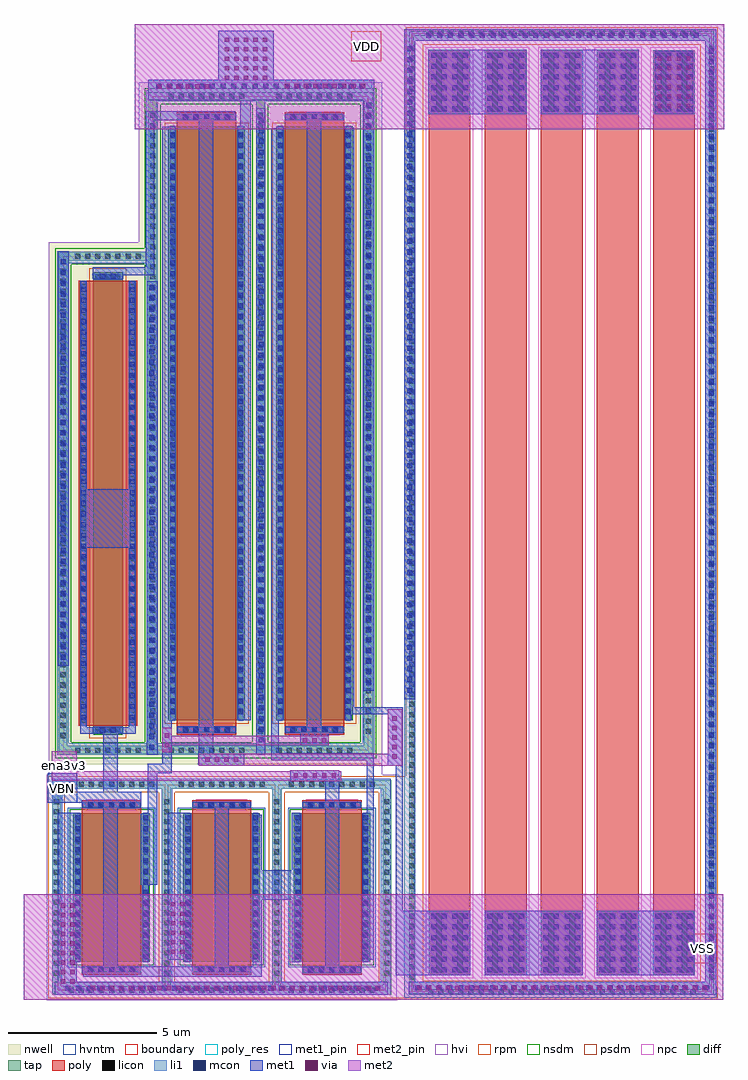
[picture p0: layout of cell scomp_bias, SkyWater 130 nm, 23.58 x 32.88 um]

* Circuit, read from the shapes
.subckt scomp_bias VBN VDD VSS ena3v3
XM1 n1 VBN VSS VSS sky130_fd_pr__nfet_g5v0d10v5 w=5 l=2
XM2 VBN VBN VSS VSS sky130_fd_pr__nfet_g5v0d10v5 w=5 l=2
XM3 n2 ena3v3 VBN VSS sky130_fd_pr__nfet_g5v0d10v5 w=5 l=2
XM4 n3 VBN VBN VDD sky130_fd_pr__pfet_g5v0d10v5 w=1 l=15
XM5 VDD n3 n1 VDD sky130_fd_pr__pfet_g5v0d10v5 w=20 l=2
XM6 n3 n1 n2 VDD sky130_fd_pr__pfet_g5v0d10v5 w=20 l=2
XR7 n4 n3 VSS sky130_fd_pr__res_high_po w=1.41 l=26.88
XR8 n4 n5 VSS sky130_fd_pr__res_high_po w=1.41 l=26.88
XR9 n6 n5 VSS sky130_fd_pr__res_high_po w=1.41 l=26.88
XR10 n6 n7 VSS sky130_fd_pr__res_high_po w=1.41 l=26.88
XR11 VDD n7 VSS sky130_fd_pr__res_high_po w=1.41 l=26.88
.ends

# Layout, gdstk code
from math import pi, radians
import gdstk
lib = gdstk.Library(unit=1e-6, precision=1e-09)
def R(c, l, rs):  # rectangles x0, y0, x1, y1
    for r in rs: c.add(gdstk.rectangle(r[:2], r[2:], *l))
def A(c, l, x, y, w, h, nx, ny, dx, dy):  # array of equal rectangles
    R(c, l, [(x+i*dx, y+j*dy, x+i*dx+w, y+j*dy+h) for i in range(nx) for j in range(ny)])
nwell = (64, 20)
diff = (65, 20)
tap = (65, 44)
poly_res = (66, 13)
poly = (66, 20)
licon = (66, 44)
li1 = (67, 20)
mcon = (67, 44)
met1_pin = (68, 16)
met1 = (68, 20)
via = (68, 44)
met2_pin = (69, 16)
met2 = (69, 20)
hvi = (75, 20)
rpm = (86, 20)
nsdm = (93, 44)
psdm = (94, 20)
npc = (95, 20)
hvntm = (125, 20)
boundary = (235, 4)

sky130_fd_pr__res_high_p = lib.new_cell('sky130_fd_pr__res_high_po_1p41_3L9D94')
R(sky130_fd_pr__res_high_p, tap, [(-5.135,-16.23,5.135,-16.06), (-5.135,-16.06,-4.965,16.06), (4.965,-16.06,5.135,16.06), (-5.135,16.06,5.135,16.23)])
A(sky130_fd_pr__res_high_p, poly_res, -4.485, -13.5, 1.41, 27, 5, 1, 1.89, 0)
A(sky130_fd_pr__res_high_p, poly, -4.485, -15.58, 1.41, 31.16, 5, 1, 1.89, 0)
A(sky130_fd_pr__res_high_p, licon, -4.505, -16.23, 0.17, 0.17, 27, 2, 0.34, 32.29)
A(sky130_fd_pr__res_high_p, licon, -5.135, -15.725, 0.17, 0.17, 1, 93, 0, 0.34)
A(sky130_fd_pr__res_high_p, licon, 4.965, -15.725, 0.17, 0.17, 1, 93, 0, 0.34)
R(sky130_fd_pr__res_high_p, licon, [(-4.23,-15.5,-4.04,-13.5), (-3.52,-15.5,-3.33,-13.5), (-2.34,-15.5,-2.15,-13.5), (-1.63,-15.5,-1.44,-13.5), (-0.45,-15.5,-0.26,-13.5), (0.26,-15.5,0.45,-13.5), (1.44,-15.5,1.63,-13.5), (2.15,-15.5,2.34,-13.5), (3.33,-15.5,3.52,-13.5), (4.04,-15.5,4.23,-13.5), (-4.23,13.5,-4.04,15.5), (-3.52,13.5,-3.33,15.5), (-2.34,13.5,-2.15,15.5), (-1.63,13.5,-1.44,15.5), (-0.45,13.5,-0.26,15.5), (0.26,13.5,0.45,15.5), (1.44,13.5,1.63,15.5), (2.15,13.5,2.34,15.5), (3.33,13.5,3.52,15.5), (4.04,13.5,4.23,15.5)])
A(sky130_fd_pr__res_high_p, li1, -4.485, -15.58, 1.41, 2.16, 5, 2, 1.89, 29)
R(sky130_fd_pr__res_high_p, li1, [(-5.135,-16.23,5.135,-16.06), (-5.135,-16.06,-4.965,16.06), (4.965,-16.06,5.135,16.06), (-5.135,16.06,5.135,16.23)])
A(sky130_fd_pr__res_high_p, mcon, -4.405, -15.485, 0.17, 0.17, 4, 6, 0.36, 0.36)
A(sky130_fd_pr__res_high_p, mcon, -2.515, -15.485, 0.17, 0.17, 4, 6, 0.36, 0.36)
A(sky130_fd_pr__res_high_p, mcon, -0.625, -15.485, 0.17, 0.17, 4, 6, 0.36, 0.36)
A(sky130_fd_pr__res_high_p, mcon, 1.265, -15.485, 0.17, 0.17, 4, 6, 0.36, 0.36)
A(sky130_fd_pr__res_high_p, mcon, 3.155, -15.485, 0.17, 0.17, 4, 6, 0.36, 0.36)
A(sky130_fd_pr__res_high_p, mcon, -4.405, 13.51, 0.17, 0.17, 4, 6, 0.36, 0.36)
A(sky130_fd_pr__res_high_p, mcon, -2.515, 13.51, 0.17, 0.17, 4, 6, 0.36, 0.36)
A(sky130_fd_pr__res_high_p, mcon, -0.625, 13.51, 0.17, 0.17, 4, 6, 0.36, 0.36)
A(sky130_fd_pr__res_high_p, mcon, 1.265, 13.51, 0.17, 0.17, 4, 6, 0.36, 0.36)
A(sky130_fd_pr__res_high_p, mcon, 3.155, 13.51, 0.17, 0.17, 4, 6, 0.36, 0.36)
A(sky130_fd_pr__res_high_p, met1, -4.435, -15.55, 1.31, 2.105, 5, 2, 1.89, 28.995)
R(sky130_fd_pr__res_high_p, rpm, [(-4.685,-15.78,4.685,15.78)])
R(sky130_fd_pr__res_high_p, psdm, [(-5.26,-16.355,5.26,16.355)])
A(sky130_fd_pr__res_high_p, npc, -4.58, -15.675, 1.6, 31.35, 5, 1, 1.89, 0)
R(sky130_fd_pr__res_high_p, boundary, [(-5.05,-16.145,5.05,16.145)])

sky130_fd_pr__nfet_g5v0d = lib.new_cell('sky130_fd_pr__nfet_g5v0d10v5_35MXHD')
R(sky130_fd_pr__nfet_g5v0d, diff, [(-1.29,-2.5,1.29,2.5)])
R(sky130_fd_pr__nfet_g5v0d, tap, [(-2,-3.61,2,-3.32), (-2,-3.32,-1.71,3.32), (1.71,-3.32,2,3.32), (-2,3.32,2,3.61)])
R(sky130_fd_pr__nfet_g5v0d, poly, [(-1,-2.94,1,2.94)])
A(sky130_fd_pr__nfet_g5v0d, licon, -1.445, -3.55, 0.17, 0.17, 9, 2, 0.34, 6.93)
A(sky130_fd_pr__nfet_g5v0d, licon, -1.94, -2.975, 0.17, 0.17, 1, 18, 0, 0.34)
A(sky130_fd_pr__nfet_g5v0d, licon, 1.77, -2.975, 0.17, 0.17, 1, 18, 0, 0.34)
A(sky130_fd_pr__nfet_g5v0d, licon, -0.765, -2.86, 0.17, 0.17, 5, 2, 0.34, 5.55)
A(sky130_fd_pr__nfet_g5v0d, licon, -1.23, -2.295, 0.17, 0.17, 1, 14, 0, 0.34)
A(sky130_fd_pr__nfet_g5v0d, licon, 1.06, -2.295, 0.17, 0.17, 1, 14, 0, 0.34)
R(sky130_fd_pr__nfet_g5v0d, li1, [(-1.94,-3.55,1.94,-3.38), (-1.94,-3.38,-1.77,3.38), (1.77,-3.38,1.94,3.38), (-1,-2.86,1,-2.69), (-1.23,-2.52,-1.06,2.52), (1.06,-2.52,1.23,2.52), (-1,2.69,1,2.86), (-1.94,3.38,1.94,3.55)])
A(sky130_fd_pr__nfet_g5v0d, mcon, -0.805, -2.86, 0.17, 0.17, 5, 2, 0.36, 5.55)
A(sky130_fd_pr__nfet_g5v0d, mcon, -1.23, -2.425, 0.17, 0.17, 1, 14, 0, 0.36)
A(sky130_fd_pr__nfet_g5v0d, mcon, 1.06, -2.425, 0.17, 0.17, 1, 14, 0, 0.36)
R(sky130_fd_pr__nfet_g5v0d, met1, [(-0.98,-2.89,0.98,-2.66), (-1.26,-2.5,-1.03,2.5), (1.03,-2.5,1.26,2.5), (-0.98,2.66,0.98,2.89)])
R(sky130_fd_pr__nfet_g5v0d, hvi, [(-2.185,-3.795,2.185,3.795)])
R(sky130_fd_pr__nfet_g5v0d, nsdm, [(-1.415,-2.625,1.415,2.625)])
R(sky130_fd_pr__nfet_g5v0d, psdm, [(-2.125,-3.735,2.125,-3.195), (-2.125,-3.195,-1.585,3.195), (1.585,-3.195,2.125,3.195), (-2.125,3.195,2.125,3.735)])
R(sky130_fd_pr__nfet_g5v0d, npc, [(-0.865,-2.96,0.865,-2.59), (-0.865,2.59,0.865,2.96)])
R(sky130_fd_pr__nfet_g5v0d, hvntm, [(-1.475,-2.685,1.475,2.685)])
R(sky130_fd_pr__nfet_g5v0d, boundary, [(-1.81,-3.46,1.81,3.46)])

sky130_fd_pr__pfet_g5v0d = lib.new_cell('sky130_fd_pr__pfet_g5v0d10v5_G59KN9')
R(sky130_fd_pr__pfet_g5v0d, nwell, [(-8.79,-1.985,8.79,1.985)])
R(sky130_fd_pr__pfet_g5v0d, diff, [(-7.79,-0.5,7.79,0.5)])
R(sky130_fd_pr__pfet_g5v0d, tap, [(-8.46,-1.655,8.46,-1.365), (-8.46,-1.365,-8.17,1.365), (8.17,-1.365,8.46,1.365), (-8.46,1.365,8.46,1.655)])
R(sky130_fd_pr__pfet_g5v0d, poly, [(-7.5,-0.985,7.5,0.985)])
A(sky130_fd_pr__pfet_g5v0d, licon, -7.905, -1.595, 0.17, 0.17, 47, 1, 0.34, 0)
A(sky130_fd_pr__pfet_g5v0d, licon, -8.4, -1.105, 0.17, 0.17, 1, 7, 0, 0.34)
A(sky130_fd_pr__pfet_g5v0d, licon, 8.23, -1.105, 0.17, 0.17, 1, 7, 0, 0.34)
A(sky130_fd_pr__pfet_g5v0d, licon, -7.395, -0.905, 0.17, 0.17, 44, 2, 0.34, 1.64)
A(sky130_fd_pr__pfet_g5v0d, licon, -7.73, -0.425, 0.17, 0.17, 1, 3, 0, 0.34)
A(sky130_fd_pr__pfet_g5v0d, licon, 7.56, -0.425, 0.17, 0.17, 1, 3, 0, 0.34)
R(sky130_fd_pr__pfet_g5v0d, li1, [(-8.4,-1.595,8.4,-1.425), (-8.4,-1.425,-8.23,1.425), (8.23,-1.425,8.4,1.425), (-7.5,-0.905,7.5,-0.735), (-7.73,-0.52,-7.56,0.52), (7.56,-0.52,7.73,0.52), (-7.5,0.735,7.5,0.905), (-8.4,1.425,8.4,1.595)])
A(sky130_fd_pr__pfet_g5v0d, mcon, -7.285, -0.905, 0.17, 0.17, 41, 2, 0.36, 1.64)
R(sky130_fd_pr__pfet_g5v0d, mcon, [(-7.73,-0.265,-7.56,-0.095), (7.56,-0.265,7.73,-0.095), (-7.73,0.095,-7.56,0.265), (7.56,0.095,7.73,0.265)])
R(sky130_fd_pr__pfet_g5v0d, met1, [(-7.48,-0.935,7.48,-0.705), (-7.76,-0.5,-7.53,0.5), (7.53,-0.5,7.76,0.5), (-7.48,0.705,7.48,0.935)])
R(sky130_fd_pr__pfet_g5v0d, hvi, [(-8.79,-1.985,8.79,1.985)])
R(sky130_fd_pr__pfet_g5v0d, nsdm, [(-8.585,-1.78,8.585,-1.24), (-8.585,-1.24,-8.045,1.24), (8.045,-1.24,8.585,1.24), (-8.585,1.24,8.585,1.78)])
R(sky130_fd_pr__pfet_g5v0d, psdm, [(-7.915,-0.625,7.915,0.625)])
R(sky130_fd_pr__pfet_g5v0d, npc, [(-7.495,-1.005,7.495,-0.635), (-7.495,0.635,7.495,1.005)])
R(sky130_fd_pr__pfet_g5v0d, boundary, [(-8.315,-1.51,8.315,1.51)])

c_sky130_fd_pr__pfet_g5v0d = lib.new_cell('sky130_fd_pr__pfet_g5v0d10v5_VXYCT5')
R(c_sky130_fd_pr__pfet_g5v0d, nwell, [(-2.29,-11.485,2.29,11.485)])
R(c_sky130_fd_pr__pfet_g5v0d, diff, [(-1.29,-10,1.29,10)])
R(c_sky130_fd_pr__pfet_g5v0d, tap, [(-1.96,-11.155,1.96,-10.865), (-1.96,-10.865,-1.67,10.865), (1.67,-10.865,1.96,10.865), (-1.96,10.865,1.96,11.155)])
R(c_sky130_fd_pr__pfet_g5v0d, poly, [(-1,-10.485,1,10.485)])
A(c_sky130_fd_pr__pfet_g5v0d, licon, -1.275, -11.095, 0.17, 0.17, 8, 2, 0.34, 22.02)
A(c_sky130_fd_pr__pfet_g5v0d, licon, -1.9, -10.455, 0.17, 0.17, 1, 62, 0, 0.34)
A(c_sky130_fd_pr__pfet_g5v0d, licon, 1.73, -10.455, 0.17, 0.17, 1, 62, 0, 0.34)
A(c_sky130_fd_pr__pfet_g5v0d, licon, -0.765, -10.405, 0.17, 0.17, 5, 2, 0.34, 20.64)
A(c_sky130_fd_pr__pfet_g5v0d, licon, -1.23, -9.775, 0.17, 0.17, 1, 58, 0, 0.34)
A(c_sky130_fd_pr__pfet_g5v0d, licon, 1.06, -9.775, 0.17, 0.17, 1, 58, 0, 0.34)
R(c_sky130_fd_pr__pfet_g5v0d, li1, [(-1.9,-11.095,1.9,-10.925), (-1.9,-10.925,-1.73,10.925), (1.73,-10.925,1.9,10.925), (-1,-10.405,1,-10.235), (-1.23,-10.02,-1.06,10.02), (1.06,-10.02,1.23,10.02), (-1,10.235,1,10.405), (-1.9,10.925,1.9,11.095)])
A(c_sky130_fd_pr__pfet_g5v0d, mcon, -0.805, -10.405, 0.17, 0.17, 5, 2, 0.36, 20.64)
A(c_sky130_fd_pr__pfet_g5v0d, mcon, -1.23, -9.805, 0.17, 0.17, 1, 55, 0, 0.36)
A(c_sky130_fd_pr__pfet_g5v0d, mcon, 1.06, -9.805, 0.17, 0.17, 1, 55, 0, 0.36)
R(c_sky130_fd_pr__pfet_g5v0d, met1, [(-0.98,-10.435,0.98,-10.205), (-1.26,-10,-1.03,10), (1.03,-10,1.26,10), (-0.98,10.205,0.98,10.435)])
R(c_sky130_fd_pr__pfet_g5v0d, hvi, [(-2.29,-11.485,2.29,11.485)])
R(c_sky130_fd_pr__pfet_g5v0d, nsdm, [(-2.085,-11.28,2.085,-10.74), (-2.085,-10.74,-1.545,10.74), (1.545,-10.74,2.085,10.74), (-2.085,10.74,2.085,11.28)])
R(c_sky130_fd_pr__pfet_g5v0d, psdm, [(-1.415,-10.125,1.415,10.125)])
R(c_sky130_fd_pr__pfet_g5v0d, npc, [(-0.865,-10.505,0.865,-10.135), (-0.865,10.135,0.865,10.505)])
R(c_sky130_fd_pr__pfet_g5v0d, boundary, [(-1.815,-11.01,1.815,11.01)])

scomp_bias = lib.new_cell('scomp_bias')
R(scomp_bias, li1, [(14.42,-6.67,24.95,-6.29), (2.65,-6.58,13.87,-6.55), (2.65,-6.55,13.97,-6.54), (2.57,-6.54,13.97,-6.13), (14.42,-6.29,24.94,-6.13), (2.57,-6.13,2.91,0.37), (6.26,-6.13,6.615,0.37), (9.97,-6.13,10.3,0.37), (13.63,-6.13,13.97,0.37), (14.42,-6.13,14.8,25.56), (24.56,-6.13,24.94,25.56), (2.57,0.37,13.97,0.71), (5.745,1.505,6.12,1.51), (2.74,1.51,13.41,1.89), (2.74,1.89,3.12,18.07), (5.745,1.89,6.12,18.07), (9.44,1.89,9.745,23.22), (13.03,1.89,13.41,23.52), (2.74,18.07,6.12,18.45), (2.74,18.45,3.12,18.47), (5.74,18.45,6.12,23.52), (9.435,23.22,9.745,23.52), (5.74,23.52,13.41,23.9), (5.8,23.9,13.34,24.25), (14.42,25.56,24.94,25.94)])
A(scomp_bias, mcon, 3.01, -6.445, 0.17, 0.17, 30, 1, 0.36, 0)
A(scomp_bias, mcon, 14.795, -6.425, 0.17, 0.17, 28, 1, 0.36, 0)
A(scomp_bias, mcon, 24.675, -5.83, 0.17, 0.17, 1, 87, 0, 0.36)
A(scomp_bias, mcon, 5.83, 1.68, 0.17, 0.17, 1, 44, 0, 0.36)
A(scomp_bias, mcon, 9.515, 1.925, 0.17, 0.17, 1, 59, 0, 0.36)
A(scomp_bias, mcon, 14.52, 3.6, 0.17, 0.17, 1, 61, 0, 0.36)
A(scomp_bias, mcon, 13.14, 3.855, 0.17, 0.17, 1, 55, 0, 0.36)
A(scomp_bias, mcon, 2.85, 4.705, 0.17, 0.17, 1, 38, 0, 0.36)
A(scomp_bias, mcon, 6.075, 23.94, 0.17, 0.17, 20, 1, 0.36, 0)
A(scomp_bias, mcon, 15.17, 25.66, 0.17, 0.17, 26, 1, 0.36, 0)
R(scomp_bias, met1_pin, [(2.41,-0.11,3.41,0.89)])
R(scomp_bias, met1, [(2.65,-6.58,13.87,-6.13), (24.56,-6.58,24.935,-6.56), (14.58,-6.56,24.935,-6.13), (2.75,-6.13,3.4,-3.3), (24.56,-6.13,24.935,25.56), (3.61,-5.96,9.62,-5.89), (17.13,-5.92,20.43,-3.75), (20.9,-5.92,24.2,-3.75), (14.14,-5.91,16.65,-3.75), (3.6,-5.89,9.62,-5.61), (11.76,-5.79,12.24,0.62), (4.29,-5.61,4.77,-0.11), (8.04,-5.61,8.52,-0.29), (9.32,-5.61,9.62,-5.43), (10.63,-5.48,10.87,-3.37), (9.39,-5.43,9.62,-3.37), (6.46,-5.4,7.1,-0.44), (13.16,-5.39,13.4,1.32), (14.14,-3.75,14.37,1.14), (9.39,-3.37,10.87,-2.38), (2.75,-3.3,3.39,-0.44), (5.55,-2.86,6.11,-0.47), (9.39,-2.38,9.62,-0.51), (10.63,-2.38,10.87,-0.44), (5.79,-0.47,6.11,0.88), (2.41,-0.11,5.56,0.26), (2.41,0.26,3.41,0.89), (4.29,0.26,4.77,2.22), (10.59,0.62,12.24,0.99), (5.79,0.88,6.6,1.2), (7.5,1.14,9.03,1.17), (13.86,1.14,14.37,2.875), (7.48,1.17,9.03,1.55), (6.28,1.2,6.6,20.61), (9.95,1.32,13.4,1.56), (5.745,1.505,6.12,17.46), (9.44,1.51,9.745,23.29), (7.48,1.55,7.99,1.65), (9.95,1.56,10.19,22.61), (7.51,1.65,7.99,22.91), (10.92,1.83,11.885,2.47), (3.505,2.22,5.375,2.43), (3.505,2.43,3.735,2.51), (5.145,2.43,5.375,2.51), (11.14,2.47,11.62,23.16), (8.9,2.67,9.25,23.55), (12.475,2.875,14.37,3.105), (12.505,3.105,12.735,22.625), (14.425,3.385,14.8,25.56), (13.05,3.665,13.415,23.55), (2.745,4.51,3.13,18.475), (3.62,8.49,5.2,10.45), (3.925,17.665,5.995,17.935), (5.725,17.935,5.995,22.88), (6.28,20.61,6.55,22.67), (5.725,22.88,6.92,22.91), (5.725,22.91,8.73,23.18), (15.24,23.08,18.54,25.25), (19.02,23.08,22.32,25.25), (22.885,23.17,24.135,25.155), (5.8,23.55,13.415,24.25), (8.16,24.25,10.02,25.89), (13.05,24.25,13.415,24.255), (14.425,25.56,24.935,25.945), (14.43,25.945,24.935,25.955)])
A(scomp_bias, via, 3.87, -6.425, 0.15, 0.15, 31, 1, 0.32, 0)
A(scomp_bias, via, 14.865, -6.415, 0.15, 0.15, 31, 1, 0.32, 0)
A(scomp_bias, via, 2.86, -6.2, 0.15, 0.15, 1, 9, 0, 0.32)
A(scomp_bias, via, 3.18, -6.2, 0.15, 0.15, 1, 9, 0, 0.32)
A(scomp_bias, via, 6.56, -5.2, 0.15, 0.15, 1, 6, 0, 0.32)
A(scomp_bias, via, 6.88, -5.2, 0.15, 0.15, 1, 6, 0, 0.32)
A(scomp_bias, via, 10.695, 0.73, 0.15, 0.15, 5, 1, 0.32, 0)
A(scomp_bias, via, 7.715, 1.27, 0.15, 0.15, 4, 1, 0.32, 0)
A(scomp_bias, via, 14.025, 1.37, 0.15, 0.15, 1, 5, 0, 0.32)
A(scomp_bias, via, 11.005, 1.915, 0.15, 0.15, 3, 1, 0.32, 0)
A(scomp_bias, via, 22.955, 23.285, 0.15, 0.15, 4, 6, 0.32, 0.32)
A(scomp_bias, via, 6.105, 23.95, 0.15, 0.15, 6, 1, 0.32, 0)
A(scomp_bias, via, 10.395, 23.96, 0.15, 0.15, 9, 1, 0.32, 0)
A(scomp_bias, via, 8.375, 24.24, 0.15, 0.15, 5, 5, 0.32, 0.32)
R(scomp_bias, via, [(6.365,1.77,6.515,1.92), (6.365,2.09,6.515,2.24)])
R(scomp_bias, met2_pin, [(23.97,-5.52,24.97,-4.52), (2.555,0.635,3.395,1.635), (12.645,24.875,13.645,25.875)])
R(scomp_bias, met2, [(1.615,-6.735,25.165,-3.195), (10.59,0.62,12.24,0.64), (2.555,0.635,3.395,0.64), (2.555,0.64,12.295,0.95), (2.555,0.95,3.395,1.635), (10.59,0.95,12.24,0.99), (7.5,1.14,14.35,1.55), (13.86,1.55,14.35,3.04), (6.28,1.595,6.6,1.83), (6.28,1.83,11.885,2.15), (6.28,2.15,6.6,2.42), (5.345,22.585,25.195,26.125)])
R(scomp_bias, hvi, [(2.455,0.84,13.685,1.19)])
R(scomp_bias, psdm, [(14.11,-6.69,14.47,0.78)])
scomp_bias.add(gdstk.Reference(sky130_fd_pr__res_high_p, (19.73,9.665), rotation=pi))
scomp_bias.add(gdstk.Reference(sky130_fd_pr__nfet_g5v0d, (11.985,-2.955)))
scomp_bias.add(gdstk.Reference(sky130_fd_pr__pfet_g5v0d, (4.44,9.98), rotation=3*pi/2))
scomp_bias.add(gdstk.Reference(c_sky130_fd_pr__pfet_g5v0d, (11.395,12.675)))
scomp_bias.add(gdstk.Reference(c_sky130_fd_pr__pfet_g5v0d, (7.765,12.675)))
scomp_bias.add(gdstk.Reference(sky130_fd_pr__nfet_g5v0d, (8.275,-2.955)))
scomp_bias.add(gdstk.Reference(sky130_fd_pr__nfet_g5v0d, (4.565,-2.955)))
scomp_bias.add(gdstk.Label('VDD', (13.145,25.375), layer=69, texttype=5))
scomp_bias.add(gdstk.Label('VSS', (24.47,-5.02), layer=69, texttype=5))
scomp_bias.add(gdstk.Label('VBN', (2.91,0.39), layer=68, texttype=5))
scomp_bias.add(gdstk.Label('ena3v3', (2.975,1.135), layer=69, texttype=5))

lib.write_gds('scomp_bias.gds')
